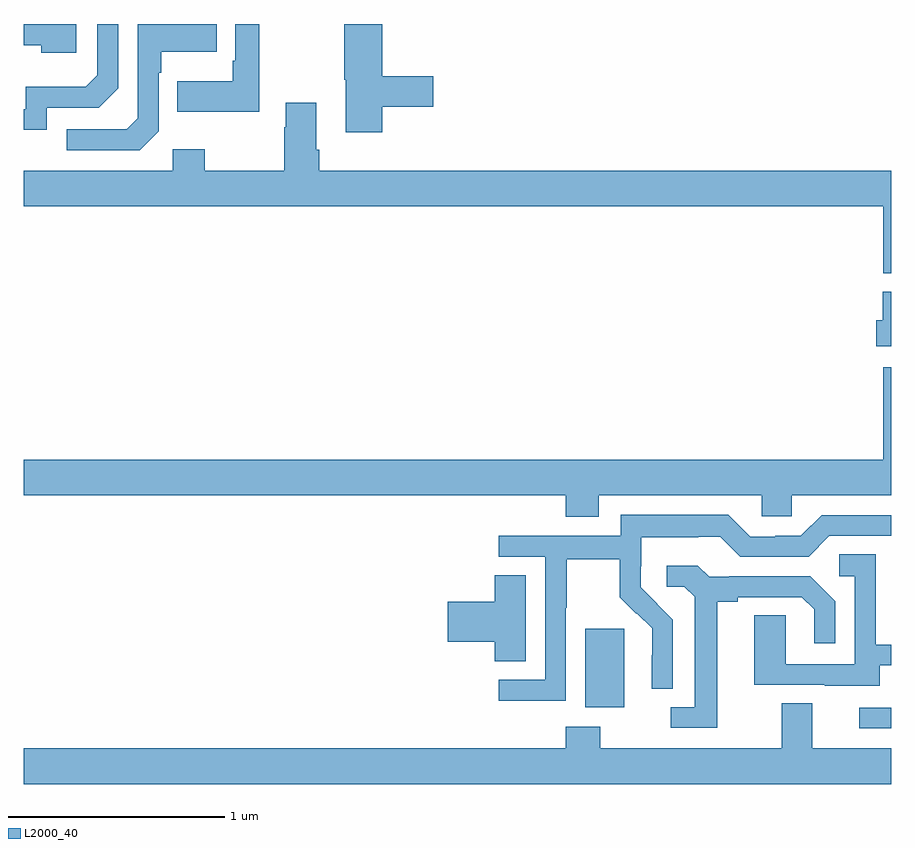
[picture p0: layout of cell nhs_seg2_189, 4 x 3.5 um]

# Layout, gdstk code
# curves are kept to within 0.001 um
import gdstk
lib = gdstk.Library(unit=1e-6, precision=1e-09)
def R(c, l, rs):  # rectangles x0, y0, x1, y1
    for r in rs: c.add(gdstk.rectangle(r[:2], r[2:], *l))
def P(c, l, *ps):  # polygons
    for p in ps: c.add(gdstk.Polygon(p, *l))
L2000_40 = (2000, 40)

nhs_seg2_189 = lib.new_cell('nhs_seg2_189')
R(nhs_seg2_189, L2000_40, [(122.853,654.552,123,654.648), (121.589,654.65,121.768,655.011)])
P(nhs_seg2_189, L2000_40, [(120.653,657.418),(120.889,657.418),(120.889,657.56),(120.653,657.56),(120.653,657.8),(120.478,657.8),(120.478,657.543),(120.485,657.543),(120.485,657.3),(120.653,657.3)],
  [(119.106,657.414),(119.346,657.414),(119.436,657.504),(119.436,657.8),(119.34,657.8),(119.34,657.564),(119.287,657.511),(119.01,657.511),(119.01,657.408),(119,657.408),(119,657.312),(119.106,657.312)],
  [(120.085,657.8),(119.976,657.8),(119.976,657.631),(119.964,657.631),(119.964,657.535),(119.707,657.535),(119.707,657.395),(120.085,657.395)],
  [(119.622,657.306),(119.622,657.575),(119.635,657.575),(119.635,657.671),(119.891,657.671),(119.891,657.8),(119.526,657.8),(119.526,657.366),(119.475,657.315),(119.199,657.315),(119.199,657.219),(119.535,657.219)],
  [(119.242,657.798),(119,657.798),(119,657.702),(119.081,657.702),(119.081,657.668),(119.242,657.668)],
  [(123,657.124),(120.362,657.124),(120.362,657.22),(120.349,657.22),(120.349,657.436),(120.209,657.436),(120.209,657.323),(120.202,657.323),(120.202,657.124),(119.835,657.124),(119.835,657.223),(119.688,657.223),(119.688,657.124),(119,657.124),(119,656.96),(122.963,656.96),(122.963,656.651),(123,656.651)],
  [(123,656.566),(122.96,656.566),(122.96,656.433),(122.93,656.433),(122.93,656.315),(123,656.315)],
  [(121.651,655.628),(122.403,655.628),(122.403,655.53),(122.541,655.53),(122.541,655.628),(123,655.628),(123,656.218),(122.963,656.218),(122.963,655.792),(119,655.792),(119,655.628),(121.499,655.628),(121.499,655.529),(121.651,655.529)],
  [(121.5,655.108),(121.503,655.108),(121.503,655.332),(121.747,655.332),(121.747,655.157),(121.824,655.08),(121.827,655.083),(121.898,655.013),(121.898,654.89),(121.896,654.89),(121.896,654.736),(121.992,654.736),(121.992,655.054),(121.846,655.202),(121.846,655.299),(121.848,655.299),(121.848,655.433),(122.111,655.433),(122.111,655.437),(122.211,655.437),(122.304,655.344),(122.619,655.344),(122.715,655.44),(123,655.44),(123,655.536),(122.679,655.536),(122.583,655.44),(122.465,655.44),(122.465,655.437),(122.349,655.437),(122.249,655.537),(121.752,655.537),(121.752,655.44),(121.191,655.44),(121.191,655.344),(121.404,655.344),(121.404,654.777),(121.191,654.777),(121.191,654.679),(121.5,654.679)],
  [(122.947,654.843),(123,654.843),(123,654.939),(122.928,654.939),(122.928,655.355),(122.76,655.355),(122.76,655.254),(122.832,655.254),(122.832,654.849),(122.514,654.849),(122.514,655.073),(122.369,655.073),(122.369,654.753),(122.693,654.753),(122.693,654.749),(122.947,654.749)],
  [(122.197,655.136),(122.293,655.136),(122.293,655.158),(122.588,655.158),(122.645,655.101),(122.645,654.945),(122.742,654.945),(122.742,655.138),(122.626,655.254),(122.254,655.254),(122.254,655.251),(122.16,655.251),(122.108,655.303),(121.965,655.303),(121.965,655.206),(122.046,655.206),(122.093,655.159),(122.093,654.651),(121.983,654.651),(121.983,654.555),(122.197,654.555)],
  [(121.315,655.259),(121.172,655.259),(121.172,655.136),(120.954,655.136),(120.954,654.953),(121.172,654.953),(121.172,654.862),(121.315,654.862)],
  [(123,654.46),(122.635,654.46),(122.635,654.668),(122.495,654.668),(122.495,654.46),(121.659,654.46),(121.659,654.559),(121.499,654.559),(121.499,654.46),(119,654.46),(119,654.296),(123,654.296)])

lib.write_gds('nhs_seg2_189.gds')
